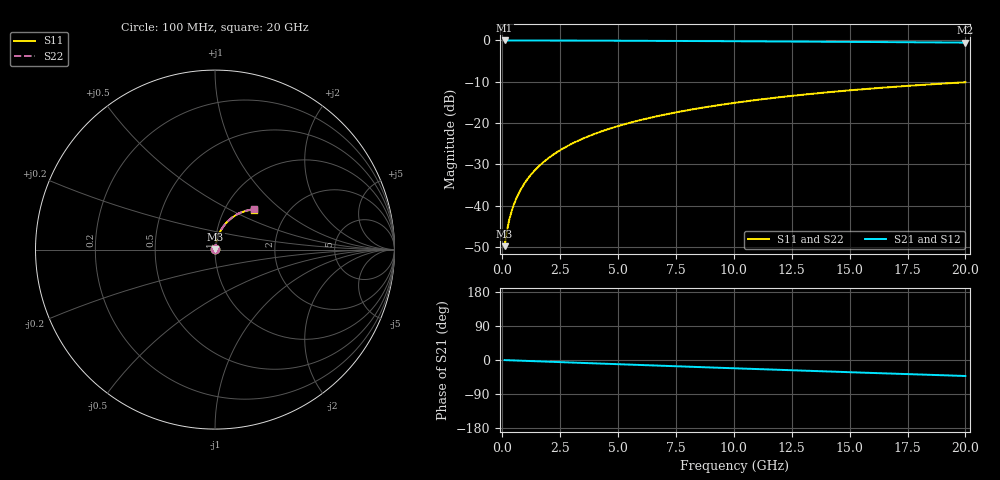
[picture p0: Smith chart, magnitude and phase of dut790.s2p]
! Touchstone file exported from HFSS 2026.1.0
!  File:  C:/ffzhzh/LocalFiles/Ansys_Project_Files/temp_train_TMRDL_790_1783155921_55132.aedt
!  Generated:  05:06:31 PM Jul  4, 2026
!  Design:  TMRDL
!  Project:  temp_train_TMRDL_790_1783155921_55132
! Variables:
!  h_bsmrdl = 2um
!  h_ox = 20um
!  h_rdl = 5um
!  h_sub = 80um
!  h_tmrdl = 3.92um
!  h_tsv = 80um
!  h_via = 3um
!  l_bsmrdl = 300um
!  l_sub = 1054.43um
!  l_tmrdl = 654.43um
!  m_sub = 200um
!  pitch = 48.8um
!  r_tsv = 6um
!  s_tmrdl = 10um
!  w_bsmrdl = 18um
!  w_sub = 500um
!  w_tmrdl = 27.7um
!  x_tsv_center1 = 668.28um
!  x_tsv_center2 = 986.28um
!  x_tsv_center3 = 1668.41um
!  x_tsv_center4 = 1986.41um
!  x_tsv_center5 = 2668.54um
!  x_tsv_center6 = 2986.54um
# GHz S MA R 50.000000
! Terminal data exported
! Port[1] = TM_RDL1_1_T1
! Port[2] = TM_RDL1_1_T2
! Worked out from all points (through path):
!   200 points, 100 MHz to 20 GHz, reference 50 ohm
!   highest |S21| = -0.02 dB at 100 MHz (marker M1); lowest = -0.5 dB at 20 GHz (marker M2)
!   group delay of S21, straight-line fit = 5.86 ps
!   lowest |S11| = -49.8 dB at 100 MHz (marker M3), VSWR 1.01, Z = 50.2 + j0.216 ohm
!   |S11| at or under -10 dB: start of sweep to end of sweep
!   |S22| runs from -49.8 to -10.1 dB; largest |S21 - S12| = 7.2e-15
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0.1  0.003221 41.9  0.9976 -0.2  0.9976 -0.2  0.003221 41.9
! Gamma 0 0 0 0
! Port Impedance 50 0 50 0
0.2  0.004932 57.9  0.9974 -0.5  0.9974 -0.5  0.004931 57.9
0.3  0.006724 64.9  0.9972 -0.7  0.9972 -0.7  0.006721 64.9
0.4  0.008505 69.0  0.9971 -0.9  0.9971 -0.9  0.0085 69.0
0.5  0.01028 71.7  0.997 -1.1  0.997 -1.1  0.01028 71.7
0.6  0.01207 73.7  0.9969 -1.4  0.9969 -1.4  0.01206 73.7
0.8  0.01567 76.3  0.9967 -1.8  0.9967 -1.8  0.01566 76.3
1.1  0.02113 78.4  0.9965 -2.5  0.9965 -2.5  0.02112 78.4
1.3  0.02479 79.1  0.9964 -2.9  0.9964 -2.9  0.02479 79.1
1.6  0.0303 79.7  0.9961 -3.6  0.9961 -3.6  0.0303 79.7
2.1  0.03949 79.8  0.9955 -4.7  0.9955 -4.7  0.03949 79.9
2.7  0.05048 79.3  0.9947 -6.1  0.9947 -6.1  0.05048 79.4
3.5  0.06498 78.2  0.9934 -7.8  0.9934 -7.8  0.06498 78.2
4.2  0.07752 77.0  0.9921 -9.4  0.9921 -9.4  0.07752 77.0
5  0.09164 75.5  0.9904 -11.1  0.9904 -11.1  0.09164 75.5
5.9  0.1073 73.7  0.9882 -13.1  0.9882 -13.1  0.1073 73.8
6.8  0.1226 71.9  0.9859 -15.0  0.9859 -15.0  0.1226 72.0
8.3  0.1475 68.9  0.9817 -18.2  0.9817 -18.2  0.1475 69.0
10.1  0.1763 65.2  0.9762 -22.1  0.9762 -22.1  0.1763 65.4
13.4  0.2259 58.7  0.9649 -28.9  0.9649 -28.9  0.2259 58.8
16.7  0.2709 52.2  0.9526 -35.7  0.9526 -35.7  0.2709 52.4
20  0.3111 45.8  0.9398 -42.2  0.9398 -42.2  0.3111 46.0
